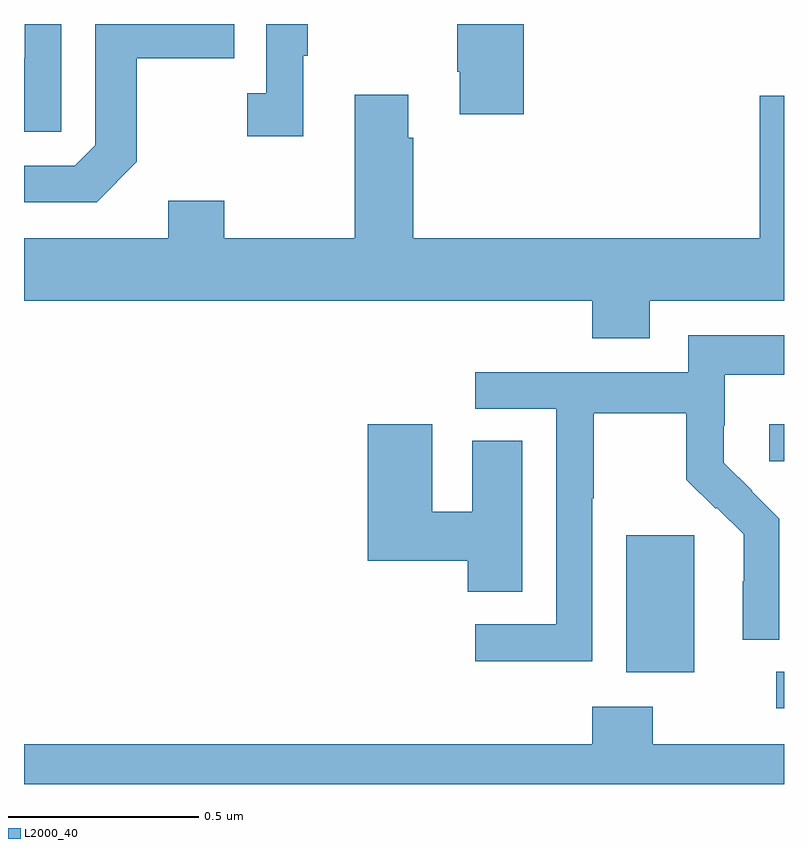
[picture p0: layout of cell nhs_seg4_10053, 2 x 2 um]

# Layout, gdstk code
import gdstk
lib = gdstk.Library(unit=1e-6, precision=1e-09)
def R(c, l, rs):  # rectangles x0, y0, x1, y1
    for r in rs: c.add(gdstk.rectangle(r[:2], r[2:], *l))
def P(c, l, *ps):  # polygons
    for p in ps: c.add(gdstk.Polygon(p, *l))
L2000_40 = (2000, 40)

nhs_seg4_10053 = lib.new_cell('nhs_seg4_10053')
R(nhs_seg4_10053, L2000_40, [(236.979,777.099,237,777.195), (236.585,777.194,236.764,777.555), (236.961,777.75,237,777.847)])
P(nhs_seg4_10053, L2000_40, [(235.098,778.9),(235.002,778.9),(235.002,778.81),(235,778.81),(235,778.617),(235.098,778.617)],
  [(235.735,778.817),(235.747,778.817),(235.747,778.9),(235.638,778.9),(235.638,778.718),(235.587,778.718),(235.587,778.605),(235.735,778.605)],
  [(235.297,778.537),(235.297,778.81),(235.553,778.81),(235.553,778.9),(235.188,778.9),(235.188,778.581),(235.134,778.527),(235,778.527),(235,778.431),(235.191,778.431)],
  [(236.315,778.9),(236.14,778.9),(236.14,778.774),(236.147,778.774),(236.147,778.662),(236.315,778.662)],
  [(236.647,778.172),(237,778.172),(237,778.711),(236.936,778.711),(236.936,778.336),(236.024,778.336),(236.024,778.601),(236.011,778.601),(236.011,778.714),(235.871,778.714),(235.871,778.336),(235.527,778.336),(235.527,778.435),(235.379,778.435),(235.379,778.336),(235,778.336),(235,778.172),(236.495,778.172),(236.495,778.073),(236.647,778.073)],
  [(236.496,777.652),(236.499,777.652),(236.499,777.876),(236.743,777.876),(236.743,777.701),(236.82,777.624),(236.823,777.627),(236.894,777.557),(236.894,777.434),(236.892,777.434),(236.892,777.28),(236.988,777.28),(236.988,777.598),(236.915,777.671),(236.916,777.672),(236.842,777.746),(236.842,777.843),(236.844,777.843),(236.844,777.977),(237,777.977),(237,778.081),(236.748,778.081),(236.748,777.984),(236.187,777.984),(236.187,777.888),(236.4,777.888),(236.4,777.321),(236.187,777.321),(236.187,777.223),(236.496,777.223)],
  [(236.311,777.803),(236.18,777.803),(236.18,777.616),(236.074,777.616),(236.074,777.847),(235.904,777.847),(235.904,777.487),(236.168,777.487),(236.168,777.406),(236.311,777.406)],
  [(237,777.004),(236.655,777.004),(236.655,777.103),(236.495,777.103),(236.495,777.004),(235,777.004),(235,776.9),(237,776.9)])

lib.write_gds('nhs_seg4_10053.gds')
